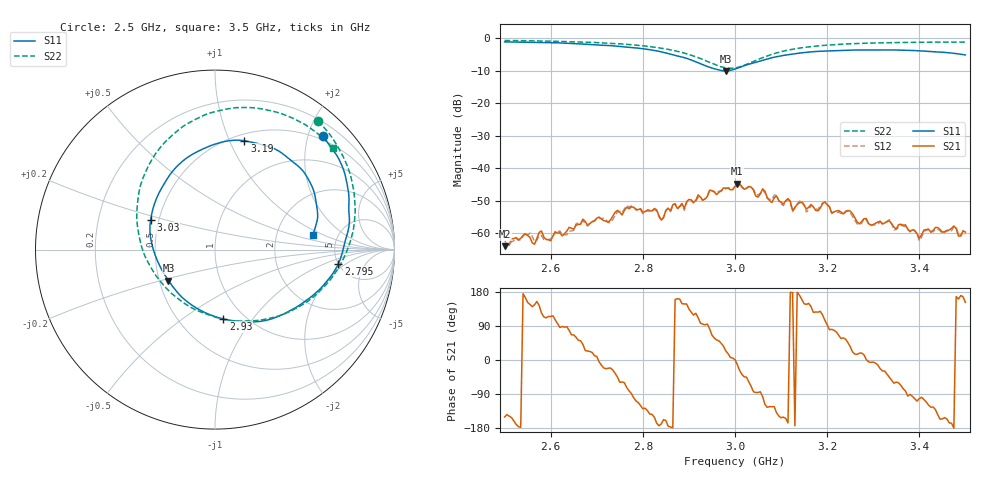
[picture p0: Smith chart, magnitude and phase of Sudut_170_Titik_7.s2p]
# Hz S RI R 50
! CMT, C1220, 16058040, 17.2.0/1
! Date: 15/08/2018 10:09:01
! Data: Format (Calibration Info)
! Freq  S11: Re/Im (F2)  S21: Re/Im (F2)  S12: Re/Im (F2)  S22: Re/Im (F2)
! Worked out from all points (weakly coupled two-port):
!   201 points, 2.5 GHz to 3.5 GHz, reference 50 ohm
!   highest |S21| = -44.75 dB at 3.005 GHz (marker M1); lowest = -64.0 dB at 2.5 GHz (marker M2)
!   lowest |S11| = -10.1 dB at 2.98 GHz (marker M3), VSWR 1.90, Z = 28 - j10.7 ohm
!   |S11| at or under -10 dB: 2.971 GHz to 2.988 GHz (17.11 MHz wide, 0.574 % of centre)
!   |S22| runs from -9.3 to -0.7 dB; largest |S21 - S12| = 0.00044
!   S11 on the Smith chart (normalised r, x): 2.5 GHz: 0.42, +2.25; 2.795 GHz: 5.02, -1.51; 2.93 GHz: 0.80, -0.73; 3.03 GHz: 0.45, +0.18; 3.19 GHz: 0.57, +1.14; 3.5 GHz: 3.25, +0.76
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2.5e9  0.5994 0.634  -0.000547 -0.00031  -0.000654 -0.000402  0.5729 0.7164
2.545e9  0.6456 0.5688  -0.000935 0.000259  -0.000992 0.000221  0.6243 0.6607
2.565e9  0.6678 0.5406  -0.000558 0.000379  -0.00055 0.000487  0.6457 0.6334
2.58e9  0.685 0.5138  -0.000603 0.000893  -0.000496 0.000773  0.6612 0.61
2.595e9  0.6979 0.4882  -0.000333 0.000719  -0.000362 0.000697  0.6756 0.5871
2.67e9  0.7446 0.3148  0.00123 0.00107  0.00127 0.000883  0.7453 0.4433
2.795e9  0.6876 -0.0785  -0.0012 -0.00205  -0.00115 -0.00195  0.7626 0.0765
2.835e9  0.5836 -0.2211  -0.00184 -0.000211  -0.00175 -0.000258  0.7017 -0.0776
2.93e9  0.0469 -0.3865  -0.000258 0.0032  -0.000446 0.00314  0.2552 -0.3922
2.98e9  -0.2591 -0.1724  0.00448 0.002  0.00433 0.00206  -0.1371 -0.3207
3e9  -0.3316 -0.0359  0.00521 9.05e-05  0.00525 -0.000193  -0.2746 -0.2118
3.005e9  -0.3433 -0.00128  0.00566 -0.0012  0.00532 -0.00132  -0.3035 -0.1781
3.03e9  -0.3587 0.1648  0.00275 -0.00438  0.00283 -0.00438  -0.407 0.00969
3.115e9  -0.1024 0.5436  -0.00328 -0.000815  -0.00325 -0.000659  -0.2949 0.5808
3.125e9  -0.0627 0.563  -0.00221 7.91e-05  -0.00214 3.38e-05  -0.2551 0.6216
3.17e9  0.0993 0.6087  -0.00148 0.00205  -0.00163 0.00197  -0.0764 0.7418
3.19e9  0.1634 0.6068  -0.00137 0.00247  -0.00128 0.00258  -0.00159 0.7679
3.27e9  0.3735 0.5366  0.00132 0.000432  0.00127 0.000412  0.2559 0.7851
3.335e9  0.4915 0.4366  0.00108 -0.0011  0.00109 -0.00118  0.4086 0.7427
3.4e9  0.5545 0.3122  -0.000168 -0.000814  -0.000228 -0.000728  0.5258 0.6797
3.42e9  0.5633 0.2637  -0.000549 -0.000997  -0.000537 -0.00103  0.5575 0.6582
3.5e9  0.5435 0.0817  -0.000911 0.000487  -0.000819 0.000502  0.6573 0.5639
